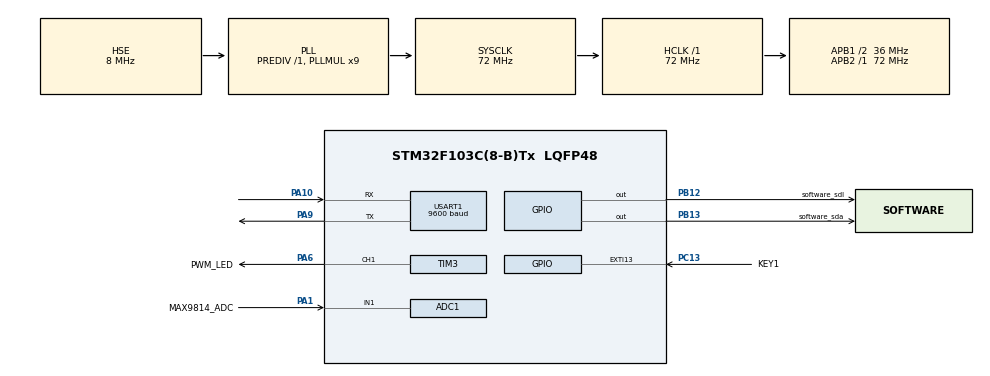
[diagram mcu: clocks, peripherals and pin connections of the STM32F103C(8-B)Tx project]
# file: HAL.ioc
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ADC1.Channel-18\#ChannelRegularConversion=ADC_CHANNEL_1
ADC1.ContinuousConvMode=DISABLE
ADC1.EnableInjectedConversion=DISABLE
ADC1.EnableRegularConversion=ENABLE
ADC1.ExternalTrigConv=ADC_EXTERNALTRIGCONV_T2_CC2
ADC1.InjNumberOfConversion=1
ADC1.NbrOfConversion=1
ADC1.NbrOfConversionFlag=1
ADC1.Rank-18\#ChannelRegularConversion=1
ADC1.SamplingTime-18\#ChannelRegularConversion=ADC_SAMPLETIME_239CYCLES_5
ADC1.master=1
Dma.ADC1.0.Direction=DMA_PERIPH_TO_MEMORY
Dma.ADC1.0.Instance=DMA1_Channel1
Dma.ADC1.0.MemDataAlignment=DMA_MDATAALIGN_HALFWORD
Dma.ADC1.0.MemInc=DMA_MINC_ENABLE
Dma.ADC1.0.Mode=DMA_CIRCULAR
Dma.ADC1.0.PeriphDataAlignment=DMA_PDATAALIGN_HALFWORD
Dma.ADC1.0.PeriphInc=DMA_PINC_DISABLE
Dma.ADC1.0.Priority=DMA_PRIORITY_HIGH
Dma.Request0=ADC1
Mcu.Family=STM32F1
Mcu.Name=STM32F103C(8-B)Tx
Mcu.Package=LQFP48
NVIC.DMA1_Channel1_IRQn=true\:0\:0\:false\:false\:true\:false\:true\:true
NVIC.PriorityGroup=NVIC_PRIORITYGROUP_4
NVIC.TIM4_IRQn=true\:15\:0\:false\:false\:true\:false\:true\:true
NVIC.TimeBase=TIM4_IRQn
NVIC.TimeBaseIP=TIM4
NVIC.USART1_IRQn=true\:0\:0\:false\:false\:true\:true\:true\:true
PA1.GPIO_Label=MAX9814_ADC
PA1.Signal=ADCx_IN1
PA10.Mode=Asynchronous
PA10.Signal=USART1_RX
PA6.GPIO_Label=PWM_LED
PA6.Signal=S_TIM3_CH1
PA9.Mode=Asynchronous
PA9.Signal=USART1_TX
PB12.GPIO_Label=software_sdl
PB12.GPIO_ModeDefaultOutputPP=GPIO_MODE_OUTPUT_OD
PB12.GPIO_PuPd=GPIO_PULLUP
PB12.GPIO_Speed=GPIO_SPEED_FREQ_HIGH
PB12.Signal=GPIO_Output
PB13.GPIO_Label=software_sda
PB13.GPIO_ModeDefaultOutputPP=GPIO_MODE_OUTPUT_OD
PB13.GPIO_PuPd=GPIO_PULLUP
PB13.GPIO_Speed=GPIO_SPEED_FREQ_HIGH
PB13.Signal=GPIO_Output
PC13-TAMPER-RTC.GPIO_Label=KEY1
PC13-TAMPER-RTC.GPIO_ModeDefaultEXTI=GPIO_MODE_IT_FALLING
PC13-TAMPER-RTC.GPIO_PuPd=GPIO_PULLUP
PC13-TAMPER-RTC.Signal=GPXTI13
PD0-OSC_IN.Mode=HSE-External-Oscillator
PD0-OSC_IN.Signal=RCC_OSC_IN
PD1-OSC_OUT.Mode=HSE-External-Oscillator
PD1-OSC_OUT.Signal=RCC_OSC_OUT
ProjectManager.HeapSize=0x200
ProjectManager.StackSize=0x400
ProjectManager.TargetToolchain=CMake
RCC.ADCPresc=RCC_ADCPCLK2_DIV6
RCC.AHBFreq_Value=72000000
RCC.APB1CLKDivider=RCC_HCLK_DIV2
RCC.APB1Freq_Value=36000000
RCC.APB1TimFreq_Value=72000000
RCC.APB2Freq_Value=72000000
RCC.APB2TimFreq_Value=72000000
RCC.HCLKFreq_Value=72000000
RCC.PLLMUL=RCC_PLL_MUL9
RCC.PLLSourceVirtual=RCC_PLLSOURCE_HSE
RCC.SYSCLKFreq_VALUE=72000000
RCC.SYSCLKSource=RCC_SYSCLKSOURCE_PLLCLK
RCC.USBFreq_Value=72000000
SH.ADCx_IN1.0=ADC1_IN1,IN1
SH.S_TIM3_CH1.0=TIM3_CH1,PWM Generation1 CH1
TIM2.Channel-Output\ Compare2\ No\ Output=TIM_CHANNEL_2
TIM2.Period=124
TIM2.Prescaler=71
TIM2.TIM_MasterOutputTrigger=TIM_TRGO_OC2REF
TIM3.Channel-PWM\ Generation1\ CH1=TIM_CHANNEL_1
TIM3.Period=999
TIM3.Prescaler=71
USART1.BaudRate=9600
USART1.VirtualMode=VM_ASYNC
VP_SYS_VS_ND.Mode=No_Debug
VP_SYS_VS_tim4.Mode=TIM4
VP_TIM2_VS_ClockSourceINT.Mode=Internal
VP_TIM2_VS_no_output2.Mode=Output Compare2 No Output
board=custom

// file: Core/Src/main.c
/* USER CODE BEGIN Header */
/**
  ******************************************************************************
  * @file           : main.c
  * @brief          : Main program body
  ******************************************************************************
  * @attention
  *
  * Copyright (c) 2026 STMicroelectronics.
  * All rights reserved.
  *
  * This software is licensed under terms that can be found in the LICENSE file
  * in the root directory of this software component.
  * If no LICENSE file comes with this software, it is provided AS-IS.
  *
  ******************************************************************************
  */
/* USER CODE END Header */
#include "main.h"

/* USER CODE BEGIN Includes */

#include "MAX30102.h"
#include "MAX9814.h"
#include "BH1750.h"
#include "HC06.h"
#include "driver_oled.h"
#include "ppg_algo.h"
#include <stdio.h>
/* USER CODE END Includes */

/* USER CODE BEGIN PTD */

typedef enum
{
  SLEEP_UNKNOWN = 0,
  SLEEP_AWAKE,
  SLEEP_LIGHT,
  SLEEP_DEEP
} SleepState_t;

/* USER CODE END PTD */

/* USER CODE BEGIN PD */

#define UART_TX_BUF_SIZE 256U

#define LED_PWM_INVERTED 0U
#define NOISE_PLAY_THRESHOLD_PCT  55U
#define NOISE_STOP_THRESHOLD_PCT  45U
#define SNORE_EVENT_COOLDOWN_MS   8000U
#define SNORE_BLOCK_SIZE          128U
#define SNORE_START_THRESHOLD_PCT 56U
#define SNORE_END_THRESHOLD_PCT   43U
#define SNORE_BURST_MIN_FRAMES    25U
#define SNORE_BURST_MAX_FRAMES    162U
#define SNORE_INTERVAL_MIN_FRAMES 44U
#define SNORE_INTERVAL_MAX_FRAMES 375U
#define SNORE_END_GAP_FRAMES      6U
#define SNORE_C0_DELTA_Q8         120U
#define SNORE_C1_MIN_Q8           20

/* USER CODE END PD */

ADC_HandleTypeDef hadc1;
DMA_HandleTypeDef hdma_adc1;

TIM_HandleTypeDef htim2;
TIM_HandleTypeDef htim3;

UART_HandleTypeDef huart1;

/* USER CODE BEGIN PV */

MAX30102_HandleTypeDef g_max30102;
MAX9814_HandleTypeDef g_max9814;
uint16_t adc_buf[256];
volatile uint8_t g_adc_half_ready = 0;
volatile uint8_t g_adc_full_ready = 0;
volatile uint16_t g_adc_half_pending = 0;
volatile uint16_t g_adc_full_pending = 0;

uint32_t g_last_red = 0;
uint32_t g_last_ir = 0;
uint32_t g_lux = 0;
uint8_t g_snd_percent = 0;
uint8_t g_max30102_fail_count = 0;

volatile uint8_t g_key_pressed = 0;
volatile uint32_t g_key_press_tick = 0;
volatile uint8_t g_key_short_event = 0;
volatile uint32_t g_key_last_irq_tick = 0;

uint8_t g_page_index = 0;
uint8_t g_led_duty = 0;
uint8_t g_led_target_duty = 30;

SleepState_t g_sleep_state = SLEEP_UNKNOWN;
SleepState_t g_sleep_candidate = SLEEP_UNKNOWN;
uint8_t g_sleep_stable_count = 0;
uint32_t g_sleep_last_change_tick = 0;

/* UART TX ring buffer state (main.c only) */
static uint8_t s_uart_tx_buf[UART_TX_BUF_SIZE];
static volatile uint16_t s_tx_rd = 0;
static volatile uint16_t s_tx_wr = 0;
static volatile uint8_t s_tx_sending = 0;  /* 1 while HAL_UART_Transmit_IT is in-flight */

HC06_HandleTypeDef g_hc06;
uint8_t g_bt_linked = 0;
uint8_t g_music_play_sent = 0;
uint8_t g_snore_active = 0;
uint16_t g_snore_count = 0;
uint32_t g_snore_last_event_tick = 0;
uint8_t g_snore_in_burst = 0;
uint8_t g_snore_pattern_score = 0;
uint32_t g_snore_burst_start_frame = 0;
uint32_t g_snore_prev_burst_end_frame = 0;
uint32_t g_snore_last_activity_frame = 0;
uint32_t g_snore_frame_index = 0;
uint16_t g_snore_c0_floor_q8 = 0;

/* USER CODE END PV */

void SystemClock_Config(void);
static void MX_GPIO_Init(void);
static void MX_DMA_Init(void);
static void MX_ADC1_Init(void);
static void MX_TIM2_Init(void);
static void MX_USART1_UART_Init(void);
static void MX_TIM3_Init(void);
/* USER CODE BEGIN PFP */

static void UpdateSleepState(const PPG_Result_t *result, uint8_t snd_percent, uint32_t lux);
static void HandleKeyEvents(void);
static void RenderPage(const PPG_Result_t *result);
static void SetLedDutyPercent(uint8_t duty);
static void UpdateLedTarget(void);
static void ProcessLedDimmingStep(void);
static void UartTx_Push(const uint8_t *data, uint16_t len);
static void UartTx_Poll(void);
static void SendTelemetry(const PPG_Result_t *result);
static void ProcessMusicCommand(void);
static void ProcessSnoreFrame(const uint16_t *samples, uint16_t count);

/* USER CODE END PFP */

/* USER CODE BEGIN 0 */

/**
 * @brief  Push bytes into the UART TX ring buffer.
 *         Drops new bytes when the buffer is full.
 */
static void UartTx_Push(const uint8_t *data, uint16_t len)
{
  uint16_t i;
  uint16_t next;

  for (i = 0U; i < len; i++)
  {
    next = (uint16_t)((s_tx_wr + 1U) & (UART_TX_BUF_SIZE - 1U));
    if (next != s_tx_rd)
    {
      s_uart_tx_buf[s_tx_wr] = data[i];
      s_tx_wr = next;
    }
  }
}

/**
 * @brief  Called in the main loop to drain the ring buffer via IRQ TX.
 *         If a transfer is already in-flight, it returns immediately.
 */
static void UartTx_Poll(void)
{
  static uint8_t s_tx_chunk[UART_TX_BUF_SIZE];
  uint16_t len;
  uint16_t end;

  if (s_tx_sending != 0U)
  {
    return; /* DMA still busy */
  }

  len = (uint16_t)((s_tx_wr - s_tx_rd) & (UART_TX_BUF_SIZE - 1U));
  if (len == 0U)
  {
    return; /* buffer empty */
  }

  /* Copy contiguous region out of the ring to a static staging buffer
     (HAL_UART_Transmit_IT keeps using the pointer until TX complete callback). */
  end = (uint16_t)((UART_TX_BUF_SIZE - s_tx_rd) < len
                   ? (UART_TX_BUF_SIZE - s_tx_rd)
                   : len);
  for (uint16_t i = 0U; i < end; i++)
  {
    s_tx_chunk[i] = s_uart_tx_buf[(uint16_t)((s_tx_rd + i) & (UART_TX_BUF_SIZE - 1U))];
  }

  s_tx_rd = (uint16_t)((s_tx_rd + end) & (UART_TX_BUF_SIZE - 1U));
  s_tx_sending = 1U;

  if (HAL_UART_Transmit_IT(&huart1, s_tx_chunk, end) != HAL_OK)
  {
    s_tx_sending = 0U; /* fall back, retry next poll */
  }
}

/**
 * @brief  UART TX completion callback.
 */
void HAL_UART_TxCpltCallback(UART_HandleTypeDef *huart)
{
  if (huart->Instance == USART1)
  {
    s_tx_sending = 0U;
  }
}

/**
 * @brief  UART TX half-completion callback (reuse to clear sending flag).
 */
void HAL_UART_TxHalfCpltCallback(UART_HandleTypeDef *huart)
{
  /* not used, but silence a potential weak-linker warning */
}

static void UpdateSleepState(const PPG_Result_t *result, uint8_t snd_percent, uint32_t lux)
{
  SleepState_t next_state;
  uint8_t stable_needed = 3U;
  uint32_t cooldown_ms;
  static uint8_t invalid_streak = 0U;

  if (((result->sqi == PPG_SQI_BAD) && (result->hr_valid == 0U) && (result->spo2_valid == 0U)) ||
      ((result->hr_valid == 0U) && (result->spo2_valid == 0U)))
  {
    if (invalid_streak < 10U)
    {
      invalid_streak++;
    }

    if (invalid_streak < 4U)
    {
      return;
    }

    next_state = SLEEP_UNKNOWN;
  }
  else if ((snd_percent > 35U) || (lux > 120U) || ((result->hr_valid != 0U) && (result->hr_bpm > 95U)))
  {
    invalid_streak = 0U;
    next_state = SLEEP_AWAKE;
  }
  else if ((snd_percent < 15U) && (lux < 30U) && ((result->hr_valid == 0U) || (result->hr_bpm < 72U)) && (result->spo2_valid != 0U) && (result->spo2 >= 93U))
  {
    invalid_streak = 0U;
    next_state = SLEEP_DEEP;
  }
  else
  {
    invalid_streak = 0U;
    next_state = SLEEP_LIGHT;
  }

  if (next_state == g_sleep_candidate)
  {
    if (g_sleep_stable_count < 5U)
    {
      g_sleep_stable_count++;
    }
  }
  else
  {
    g_sleep_candidate = next_state;
    g_sleep_stable_count = 1U;
  }

  if (next_state == SLEEP_UNKNOWN)
  {
    stable_needed = 2U;
  }

  cooldown_ms = (next_state == SLEEP_UNKNOWN) ? 3000U : 10000U;
  if (g_sleep_stable_count >= stable_needed)
  {
    if ((g_sleep_state == SLEEP_UNKNOWN) ||
        ((HAL_GetTick() - g_sleep_last_change_tick) >= cooldown_ms))
    {
      if (g_sleep_state != g_sleep_candidate)
      {
        g_sleep_state = g_sleep_candidate;
        g_sleep_last_change_tick = HAL_GetTick();
      }
    }
  }
}

static void HandleKeyEvents(void)
{
  if (g_key_short_event != 0U)
  {
    __disable_irq();
    g_key_short_event = 0U;
    __enable_irq();
    g_page_index = (uint8_t)((g_page_index + 1U) % 3U);
    OLED_Clear();
  }
}

static void RenderPage(const PPG_Result_t *result)
{
  if (g_page_index == 0U)
  {
    OLED_ShowString(1, 1, "ENVIRONMENT");
    OLED_ShowString(2, 1, "SND:");
    OLED_ShowNum(2, 5, g_snd_percent, 3);
    OLED_ShowString(2, 8, "%");
    OLED_ShowString(3, 1, "LUX:");
    OLED_ShowNum(3, 5, g_lux, 4);
    OLED_ShowString(4, 1, "PAGE1/3");
    OLED_ShowString(4, 9, "D:");
    OLED_ShowNum(4, 11, g_led_duty, 2);
  }
  else if (g_page_index == 1U)
  {
    OLED_ShowString(1, 1, "BIO SIGNAL");
    OLED_ShowString(2, 1, "HR:");
    if (result->hr_valid != 0U)
    {
      OLED_ShowNum(2, 4, result->hr_bpm, 3);
    }
    else
    {
      OLED_ShowString(2, 4, "---");
    }
    OLED_ShowString(2, 8, "bpm");

    OLED_ShowString(3, 1, "SpO2:");
    if (result->spo2_valid != 0U)
    {
      OLED_ShowNum(3, 6, result->spo2, 3);
    }
    else
    {
      OLED_ShowString(3, 6, "---");
    }
    OLED_ShowString(3, 10, "%");
    OLED_ShowString(4, 1, "PAGE2/3");
  }
  else
  {
    OLED_ShowString(1, 1, "SLEEP QUALITY");
    OLED_ShowString(2, 1, "ST:");
    if (g_sleep_state == SLEEP_AWAKE)
    {
      OLED_ShowString(2, 4, "AWAKE ");
    }
    else if (g_sleep_state == SLEEP_LIGHT)
    {
      OLED_ShowString(2, 4, "LIGHT ");
    }
    else if (g_sleep_state == SLEEP_DEEP)
    {
      OLED_ShowString(2, 4, "DEEP  ");
    }
    else
    {
      OLED_ShowString(2, 4, "UNKNWN");
    }

    OLED_ShowString(3, 1, "SQI:");
    if (result->sqi == PPG_SQI_GOOD)
    {
      OLED_ShowString(3, 5, "GOOD");
    }
    else if (result->sqi == PPG_SQI_MID)
    {
      OLED_ShowString(3, 5, "MID ");
    }
    else
    {
      OLED_ShowString(3, 5, "BAD ");
    }

    OLED_ShowString(3, 10, "H:");
    if (result->hr_valid != 0U)
    {
      OLED_ShowNum(3, 12, result->hr_bpm, 2);
    }
    else
    {
      OLED_ShowString(3, 12, "--");
    }

  OLED_ShowString(4, 1, "BT:");
  if (g_bt_linked != 0U)
  {
    OLED_ShowString(4, 4, "L ");
  }
  else
  {
    OLED_ShowString(4, 4, "S ");
  }
  OLED_ShowString(4, 7, "SN:");
  if (g_snore_active != 0U)
  {
    OLED_ShowString(4, 10, "Y");
  }
  else
  {
    OLED_ShowString(4, 10, "N");
  }
  OLED_ShowNum(4, 12, g_snore_pattern_score, 1);
  }
}

static void SetLedDutyPercent(uint8_t duty)
{
  uint32_t arr;
  uint32_t ccr;
  uint8_t applied;

  if (duty > 100U)
  {
    duty = 100U;
  }

  g_led_duty = duty;
  applied = duty;
#if (LED_PWM_INVERTED == 1U)
  applied = (uint8_t)(100U - duty);
#endif

  arr = __HAL_TIM_GET_AUTORELOAD(&htim3);
  ccr = ((arr + 1U) * applied) / 100U;
  __HAL_TIM_SET_COMPARE(&htim3, TIM_CHANNEL_1, ccr);
}

static void UpdateLedTarget(void)
{
  int16_t target;

  if (g_sleep_state == SLEEP_AWAKE)
  {
    target = 78;
  }
  else if (g_sleep_state == SLEEP_LIGHT)
  {
    target = 45;
  }
  else if (g_sleep_state == SLEEP_DEEP)
  {
    target = 12;
  }
  else
  {
    target = 35;
  }

  if (g_lux <= 20U)
  {
    target -= 10;
  }
  else if (g_lux <= 120U)
  {
    target += 0;
  }
  else if (g_lux <= 500U)
  {
    target += 10;
  }
  else if (g_lux <= 2000U)
  {
    target += 20;
  }
  else
  {
    target += 30;
  }

  if (target < 5)
  {
    target = 5;
  }
  if (target > 95)
  {
    target = 95;
  }

  g_led_target_duty = (uint8_t)target;
}

static void ProcessLedDimmingStep(void)
{
  if (g_led_duty < g_led_target_duty)
  {
    SetLedDutyPercent((uint8_t)(g_led_duty + 1U));
  }
  else if (g_led_duty > g_led_target_duty)
  {
    SetLedDutyPercent((uint8_t)(g_led_duty - 1U));
  }
}

static void SendTelemetry(const PPG_Result_t *result)
{
  char line[96];
  int len;
  uint8_t slp;
  uint16_t hr = (result->hr_valid != 0U) ? result->hr_bpm : 0U;
  uint8_t spo2 = (result->spo2_valid != 0U) ? result->spo2 : 0U;

  if (g_sleep_state == SLEEP_DEEP)
  {
    slp = 2U;
  }
  else if (g_sleep_state == SLEEP_LIGHT)
  {
    slp = 1U;
  }
  else
  {
    slp = 0U;
  }

  len = snprintf(line,
                 sizeof(line),
                 "DATA:HR=%u,SPO2=%u,SLP=%u,LGT=%lu,NS=%u,SNR=%u\r\n",
                 (unsigned)hr,
                 (unsigned)spo2,
                 (unsigned)slp,
                 (unsigned long)g_lux,
                 (unsigned)g_snd_percent,
                 (unsigned)g_snore_count);

  if (len > 0)
  {
    UartTx_Push((const uint8_t *)line, (uint16_t)len);
    g_bt_linked = 1U;
  }
}

static void ProcessSnoreFrame(const uint16_t *samples, uint16_t count)
{
  uint8_t in_sleep;
  uint16_t i;
  int32_t sum = 0;
  uint32_t sum_abs = 0U;
  int16_t c0_q8;
  int16_t c1_q8;
  int16_t start_thr_q8;
  int16_t end_thr_q8;
  uint32_t burst_frames;
  uint32_t interval_frames;

  in_sleep = (g_sleep_state == SLEEP_LIGHT) || (g_sleep_state == SLEEP_DEEP);

  if ((samples == NULL) || (count == 0U))
  {
    return;
  }

  for (i = 0U; i < count; i++)
  {
    sum += (int32_t)samples[i];
  }
  sum /= (int32_t)count;

  for (i = 0U; i < count; i++)
  {
    int32_t d = (int32_t)samples[i] - sum;
    if (d < 0)
    {
      d = -d;
    }
    sum_abs += (uint32_t)d;
  }

  c0_q8 = (int16_t)(((sum_abs / count) * 256U) / 4095U);

  sum_abs = 0U;
  for (i = 1U; i < count; i++)
  {
    int32_t d = (int32_t)samples[i] - (int32_t)samples[i - 1U];
    if (d < 0)
    {
      d = -d;
    }
    sum_abs += (uint32_t)d;
  }
  c1_q8 = (int16_t)(((sum_abs / (count - 1U)) * 256U) / 4095U);

  g_snore_frame_index++;

  if (in_sleep == 0U)
  {
    g_snore_active = 0U;
    g_snore_in_burst = 0U;
    g_snore_pattern_score = 0U;
    return;
  }

  if ((g_snore_in_burst == 0U) && (c0_q8 < (int16_t)(g_snore_c0_floor_q8 + (8 * 256 / 100))))
  {
    if (g_snore_c0_floor_q8 == 0U)
    {
      g_snore_c0_floor_q8 = (uint16_t)c0_q8;
    }
    else
    {
      g_snore_c0_floor_q8 = (uint16_t)((15U * g_snore_c0_floor_q8 + (uint16_t)c0_q8) / 16U);
    }
  }

  start_thr_q8 = (int16_t)(g_snore_c0_floor_q8 + SNORE_C0_DELTA_Q8);
  if (start_thr_q8 < (int16_t)(SNORE_START_THRESHOLD_PCT * 256 / 100))
  {
    start_thr_q8 = (int16_t)(SNORE_START_THRESHOLD_PCT * 256 / 100);
  }

  end_thr_q8 = (int16_t)(g_snore_c0_floor_q8 + (SNORE_C0_DELTA_Q8 / 2));
  if (end_thr_q8 < (int16_t)(SNORE_END_THRESHOLD_PCT * 256 / 100))
  {
    end_thr_q8 = (int16_t)(SNORE_END_THRESHOLD_PCT * 256 / 100);
  }

  if ((g_snore_in_burst == 0U) && (c0_q8 >= start_thr_q8) && (c1_q8 >= SNORE_C1_MIN_Q8))
  {
    g_snore_in_burst = 1U;
    g_snore_burst_start_frame = g_snore_frame_index;
    g_snore_last_activity_frame = g_snore_frame_index;
  }

  if (g_snore_in_burst != 0U)
  {
    if (c0_q8 > end_thr_q8)
    {
      g_snore_last_activity_frame = g_snore_frame_index;
    }

    if ((c0_q8 <= end_thr_q8) && ((g_snore_frame_index - g_snore_last_activity_frame) >= SNORE_END_GAP_FRAMES))
    {
      g_snore_in_burst = 0U;
      burst_frames = g_snore_frame_index - g_snore_burst_start_frame;

      if ((burst_frames >= SNORE_BURST_MIN_FRAMES) && (burst_frames <= SNORE_BURST_MAX_FRAMES))
      {
        if (g_snore_prev_burst_end_frame != 0U)
        {
          interval_frames = g_snore_burst_start_frame - g_snore_prev_burst_end_frame;
          if ((interval_frames >= SNORE_INTERVAL_MIN_FRAMES) && (interval_frames <= SNORE_INTERVAL_MAX_FRAMES))
          {
            if (g_snore_pattern_score < 6U)
            {
              g_snore_pattern_score++;
            }
          }
          else
          {
            if (g_snore_pattern_score > 0U)
            {
              g_snore_pattern_score--;
            }
          }
        }
        else
        {
          g_snore_pattern_score = 1U;
        }
        g_snore_prev_burst_end_frame = g_snore_frame_index;
      }
    }
  }

  if ((g_snore_pattern_score >= 2U) && ((HAL_GetTick() - g_snore_last_event_tick) >= SNORE_EVENT_COOLDOWN_MS))
  {
    g_snore_active = 1U;
    g_snore_count++;
    g_snore_last_event_tick = HAL_GetTick();
  }

  if ((g_snore_active != 0U) && ((HAL_GetTick() - g_snore_last_event_tick) > 6000U) && (c0_q8 < end_thr_q8))
  {
    g_snore_active = 0U;
  }

  if ((g_snore_pattern_score > 0U) && ((g_snore_frame_index - g_snore_prev_burst_end_frame) > 750U))
  {
    g_snore_pattern_score--;
  }
}

static void ProcessMusicCommand(void)
{
  static const uint8_t cmd_play[] = "CMD:PLAY\r\n";
  static const uint8_t cmd_stop[] = "CMD:STOP\r\n";

  if ((g_music_play_sent == 0U) && (g_snd_percent >= NOISE_PLAY_THRESHOLD_PCT))
  {
    UartTx_Push(cmd_play, (uint16_t)(sizeof(cmd_play) - 1U));
    g_music_play_sent = 1U;
    g_bt_linked = 1U;
  }
  else if ((g_music_play_sent != 0U) && (g_snd_percent <= NOISE_STOP_THRESHOLD_PCT))
  {
    UartTx_Push(cmd_stop, (uint16_t)(sizeof(cmd_stop) - 1U));
    g_music_play_sent = 0U;
    g_bt_linked = 1U;
  }
}

/* USER CODE END 0 */

int main(void)
{

  /* MCU Configuration--------------------------------------------------------*/

  /* Reset of all peripherals, Initializes the Flash interface and the Systick. */
  HAL_Init();

  /* Configure the system clock */
  SystemClock_Config();

  /* Initialize all configured peripherals */
  MX_GPIO_Init();
  MX_DMA_Init();
  MX_ADC1_Init();
  MX_TIM2_Init();
  MX_USART1_UART_Init();
  MX_TIM3_Init();
  /* USER CODE BEGIN 2 */

  HAL_ADCEx_Calibration_Start(&hadc1);
  HAL_ADC_Start_DMA(&hadc1, (uint32_t *)adc_buf, 256);
  HAL_TIM_OC_Start(&htim2, TIM_CHANNEL_2);
  HAL_TIM_PWM_Start(&htim3, TIM_CHANNEL_1);
  SetLedDutyPercent(30U);
  g_led_target_duty = 30U;

  OLED_Init();
  OLED_Clear();
  OLED_ShowString(1, 1, "INIT...");

  MAX9814_Init(&g_max9814, 2048U, 4095U);
  (void)MAX30102_Init(&g_max30102);
  (void)HC06_Init(&g_hc06, &huart1, NULL, 0U, 100U);
  Init_BH1750();
  PPG_Init();

  /* USER CODE END 2 */

  /* Infinite loop */
  /* USER CODE BEGIN WHILE */
  uint32_t tick_10ms = HAL_GetTick();
  uint32_t tick_200ms = HAL_GetTick();
  uint32_t tick_1000ms = HAL_GetTick();
  uint32_t tick_50ms = HAL_GetTick();
  uint32_t tick_30ms = HAL_GetTick();
  while (1)
  {
    /* USER CODE END WHILE */

    /* USER CODE BEGIN 3 */
    HandleKeyEvents();

    UartTx_Poll();

    while ((HAL_GetTick() - tick_50ms) >= 50U)
    {
      tick_50ms += 50U;
      if ((g_key_pressed != 0U) && (HAL_GPIO_ReadPin(KEY1_GPIO_Port, KEY1_Pin) == GPIO_PIN_SET))
      {
        uint32_t press_ms = HAL_GetTick() - g_key_press_tick;
        __disable_irq();
        g_key_pressed = 0U;
        __enable_irq();
        if ((press_ms >= 40U) && (press_ms < 1000U))
        {
          g_key_short_event = 1U;
        }
      }
    }

    while (g_adc_half_pending != 0U)
    {
      __disable_irq();
      g_adc_half_pending--;
      __enable_irq();
      MAX9814_ProcessBlock(&g_max9814, &adc_buf[0], 128U);
      ProcessSnoreFrame(&adc_buf[0], SNORE_BLOCK_SIZE);
    }

    while (g_adc_full_pending != 0U)
    {
      __disable_irq();
      g_adc_full_pending--;
      __enable_irq();
      MAX9814_ProcessBlock(&g_max9814, &adc_buf[128], 128U);
      ProcessSnoreFrame(&adc_buf[128], SNORE_BLOCK_SIZE);
    }

    while ((HAL_GetTick() - tick_10ms) >= 10U)
    {
      uint8_t wr = 0;
      uint8_t rd = 0;
      uint8_t avail;
      HAL_StatusTypeDef st;

      tick_10ms += 10U;
      st = MAX30102_GetFifoPtrs(&g_max30102, &wr, &rd);
      if (st == HAL_OK)
      {
        avail = MAX30102_GetFifoSamplesAvailable(wr, rd);
        while (avail > 0U)
        {
          uint8_t n = (avail > 8U) ? 8U : avail;
          uint32_t red[8];
          uint32_t ir[8];
          uint8_t i;

          st = MAX30102_ReadSamples(&g_max30102, red, ir, n);
          if (st != HAL_OK)
          {
            g_max30102_fail_count++;
            break;
          }

          for (i = 0U; i < n; i++)
          {
            g_last_red = red[i];
            g_last_ir = ir[i];
            PPG_PushSample(red[i], ir[i]);
          }

          avail = (uint8_t)(avail - n);
        }
      }
      else
      {
        g_max30102_fail_count++;
      }

      if (g_max30102_fail_count >= 5U)
      {
        (void)MAX30102_Init(&g_max30102);
        g_max30102_fail_count = 0U;
      }
    }

    if ((HAL_GetTick() - tick_1000ms) >= 1000U)
    {
      PPG_Result_t state_result;
      tick_1000ms += 1000U;
      g_lux = Value_GY30();
      g_snd_percent = MAX9814_GetLevelPercent(&g_max9814);
      PPG_Update1s();
      state_result = PPG_GetResult();
      UpdateSleepState(&state_result, g_snd_percent, g_lux);
      UpdateLedTarget();
      SendTelemetry(&state_result);
      ProcessMusicCommand();
    }

    while ((HAL_GetTick() - tick_30ms) >= 30U)
    {
      tick_30ms += 30U;
      ProcessLedDimmingStep();
    }

    if ((HAL_GetTick() - tick_200ms) >= 200U)
    {
      PPG_Result_t result;
      tick_200ms += 200U;
      result = PPG_GetResult();
      RenderPage(&result);
    }
  }
  /* USER CODE END 3 */
}

void SystemClock_Config(void)
{
  RCC_OscInitTypeDef RCC_OscInitStruct = {0};
  RCC_ClkInitTypeDef RCC_ClkInitStruct = {0};
  RCC_PeriphCLKInitTypeDef PeriphClkInit = {0};

  /** Initializes the RCC Oscillators according to the specified parameters
  * in the RCC_OscInitTypeDef structure.
  */
  RCC_OscInitStruct.OscillatorType = RCC_OSCILLATORTYPE_HSE;
  RCC_OscInitStruct.HSEState = RCC_HSE_ON;
  RCC_OscInitStruct.HSEPredivValue = RCC_HSE_PREDIV_DIV1;
  RCC_OscInitStruct.HSIState = RCC_HSI_ON;
  RCC_OscInitStruct.PLL.PLLState = RCC_PLL_ON;
  RCC_OscInitStruct.PLL.PLLSource = RCC_PLLSOURCE_HSE;
  RCC_OscInitStruct.PLL.PLLMUL = RCC_PLL_MUL9;
  if (HAL_RCC_OscConfig(&RCC_OscInitStruct) != HAL_OK)
  {
    Error_Handler();
  }

  /** Initializes the CPU, AHB and APB buses clocks
  */
  RCC_ClkInitStruct.ClockType = RCC_CLOCKTYPE_HCLK|RCC_CLOCKTYPE_SYSCLK
                              |RCC_CLOCKTYPE_PCLK1|RCC_CLOCKTYPE_PCLK2;
  RCC_ClkInitStruct.SYSCLKSource = RCC_SYSCLKSOURCE_PLLCLK;
  RCC_ClkInitStruct.AHBCLKDivider = RCC_SYSCLK_DIV1;
  RCC_ClkInitStruct.APB1CLKDivider = RCC_HCLK_DIV2;
  RCC_ClkInitStruct.APB2CLKDivider = RCC_HCLK_DIV1;

  if (HAL_RCC_ClockConfig(&RCC_ClkInitStruct, FLASH_LATENCY_2) != HAL_OK)
  {
    Error_Handler();
  }
  PeriphClkInit.PeriphClockSelection = RCC_PERIPHCLK_ADC;
  PeriphClkInit.AdcClockSelection = RCC_ADCPCLK2_DIV6;
  if (HAL_RCCEx_PeriphCLKConfig(&PeriphClkInit) != HAL_OK)
  {
    Error_Handler();
  }
}

static void MX_ADC1_Init(void)
{

  ADC_ChannelConfTypeDef sConfig = {0};

  /** Common config
  */
  hadc1.Instance = ADC1;
  hadc1.Init.ScanConvMode = ADC_SCAN_DISABLE;
  hadc1.Init.ContinuousConvMode = DISABLE;
  hadc1.Init.DiscontinuousConvMode = DISABLE;
  hadc1.Init.ExternalTrigConv = ADC_EXTERNALTRIGCONV_T2_CC2;
  hadc1.Init.DataAlign = ADC_DATAALIGN_RIGHT;
  hadc1.Init.NbrOfConversion = 1;
  if (HAL_ADC_Init(&hadc1) != HAL_OK)
  {
    Error_Handler();
  }

  /** Configure Regular Channel
  */
  sConfig.Channel = ADC_CHANNEL_1;
  sConfig.Rank = ADC_REGULAR_RANK_1;
  sConfig.SamplingTime = ADC_SAMPLETIME_239CYCLES_5;
  if (HAL_ADC_ConfigChannel(&hadc1, &sConfig) != HAL_OK)
  {
    Error_Handler();
  }

}

static void MX_TIM2_Init(void)
{

  TIM_ClockConfigTypeDef sClockSourceConfig = {0};
  TIM_MasterConfigTypeDef sMasterConfig = {0};
  TIM_OC_InitTypeDef sConfigOC = {0};

  htim2.Instance = TIM2;
  htim2.Init.Prescaler = 71;
  htim2.Init.CounterMode = TIM_COUNTERMODE_UP;
  htim2.Init.Period = 124;
  htim2.Init.ClockDivision = TIM_CLOCKDIVISION_DIV1;
  htim2.Init.AutoReloadPreload = TIM_AUTORELOAD_PRELOAD_DISABLE;
  if (HAL_TIM_Base_Init(&htim2) != HAL_OK)
  {
    Error_Handler();
  }
  sClockSourceConfig.ClockSource = TIM_CLOCKSOURCE_INTERNAL;
  if (HAL_TIM_ConfigClockSource(&htim2, &sClockSourceConfig) != HAL_OK)
  {
    Error_Handler();
  }
  if (HAL_TIM_OC_Init(&htim2) != HAL_OK)
  {
    Error_Handler();
  }
  sMasterConfig.MasterOutputTrigger = TIM_TRGO_OC2REF;
  sMasterConfig.MasterSlaveMode = TIM_MASTERSLAVEMODE_DISABLE;
  if (HAL_TIMEx_MasterConfigSynchronization(&htim2, &sMasterConfig) != HAL_OK)
  {
    Error_Handler();
  }
  sConfigOC.OCMode = TIM_OCMODE_TIMING;
  sConfigOC.Pulse = 0;
  sConfigOC.OCPolarity = TIM_OCPOLARITY_HIGH;
  sConfigOC.OCFastMode = TIM_OCFAST_DISABLE;
  if (HAL_TIM_OC_ConfigChannel(&htim2, &sConfigOC, TIM_CHANNEL_2) != HAL_OK)
  {
    Error_Handler();
  }

}

static void MX_TIM3_Init(void)
{

  TIM_MasterConfigTypeDef sMasterConfig = {0};
  TIM_OC_InitTypeDef sConfigOC = {0};

  htim3.Instance = TIM3;
  htim3.Init.Prescaler = 71;
  htim3.Init.CounterMode = TIM_COUNTERMODE_UP;
  htim3.Init.Period = 999;
  htim3.Init.ClockDivision = TIM_CLOCKDIVISION_DIV1;
  htim3.Init.AutoReloadPreload = TIM_AUTORELOAD_PRELOAD_DISABLE;
  if (HAL_TIM_PWM_Init(&htim3) != HAL_OK)
  {
    Error_Handler();
  }
  sMasterConfig.MasterOutputTrigger = TIM_TRGO_RESET;
  sMasterConfig.MasterSlaveMode = TIM_MASTERSLAVEMODE_DISABLE;
  if (HAL_TIMEx_MasterConfigSynchronization(&htim3, &sMasterConfig) != HAL_OK)
  {
    Error_Handler();
  }
  sConfigOC.OCMode = TIM_OCMODE_PWM1;
  sConfigOC.Pulse = 0;
  sConfigOC.OCPolarity = TIM_OCPOLARITY_HIGH;
  sConfigOC.OCFastMode = TIM_OCFAST_DISABLE;
  if (HAL_TIM_PWM_ConfigChannel(&htim3, &sConfigOC, TIM_CHANNEL_1) != HAL_OK)
  {
    Error_Handler();
  }
  HAL_TIM_MspPostInit(&htim3);

}

static void MX_USART1_UART_Init(void)
{

  huart1.Instance = USART1;
  huart1.Init.BaudRate = 9600;
  huart1.Init.WordLength = UART_WORDLENGTH_8B;
  huart1.Init.StopBits = UART_STOPBITS_1;
  huart1.Init.Parity = UART_PARITY_NONE;
  huart1.Init.Mode = UART_MODE_TX_RX;
  huart1.Init.HwFlowCtl = UART_HWCONTROL_NONE;
  huart1.Init.OverSampling = UART_OVERSAMPLING_16;
  if (HAL_UART_Init(&huart1) != HAL_OK)
  {
    Error_Handler();
  }

}

static void MX_DMA_Init(void)
{

  /* DMA controller clock enable */
  __HAL_RCC_DMA1_CLK_ENABLE();

  /* DMA interrupt init */
  /* DMA1_Channel1_IRQn interrupt configuration */
  HAL_NVIC_SetPriority(DMA1_Channel1_IRQn, 0, 0);
  HAL_NVIC_EnableIRQ(DMA1_Channel1_IRQn);

}

static void MX_GPIO_Init(void)
{
  GPIO_InitTypeDef GPIO_InitStruct = {0};

  /* GPIO Ports Clock Enable */
  __HAL_RCC_GPIOC_CLK_ENABLE();
  __HAL_RCC_GPIOD_CLK_ENABLE();
  __HAL_RCC_GPIOA_CLK_ENABLE();
  __HAL_RCC_GPIOB_CLK_ENABLE();

  /*Configure GPIO pin Output Level */
  HAL_GPIO_WritePin(GPIOB, software_sdl_Pin|software_sda_Pin, GPIO_PIN_RESET);

  /*Configure GPIO pin : KEY1_Pin */
  GPIO_InitStruct.Pin = KEY1_Pin;
  GPIO_InitStruct.Mode = GPIO_MODE_IT_FALLING;
  GPIO_InitStruct.Pull = GPIO_PULLUP;
  HAL_GPIO_Init(KEY1_GPIO_Port, &GPIO_InitStruct);

  HAL_NVIC_SetPriority(EXTI15_10_IRQn, 2, 0);
  HAL_NVIC_EnableIRQ(EXTI15_10_IRQn);

  /*Configure GPIO pins : software_sdl_Pin software_sda_Pin */
  GPIO_InitStruct.Pin = software_sdl_Pin|software_sda_Pin;
  GPIO_InitStruct.Mode = GPIO_MODE_OUTPUT_OD;
  GPIO_InitStruct.Pull = GPIO_PULLUP;
  GPIO_InitStruct.Speed = GPIO_SPEED_FREQ_HIGH;
  HAL_GPIO_Init(GPIOB, &GPIO_InitStruct);

}

/* USER CODE BEGIN 4 */

void HAL_ADC_ConvHalfCpltCallback(ADC_HandleTypeDef *hadc)
{
  if (hadc->Instance == ADC1)
  {
    if (g_adc_half_pending < 0xFFFFU)
    {
      g_adc_half_pending++;
    }
    g_adc_half_ready = 1U;
  }
}

void HAL_ADC_ConvCpltCallback(ADC_HandleTypeDef *hadc)
{
  if (hadc->Instance == ADC1)
  {
    if (g_adc_full_pending < 0xFFFFU)
    {
      g_adc_full_pending++;
    }
    g_adc_full_ready = 1U;
  }
}

void HAL_GPIO_EXTI_Callback(uint16_t GPIO_Pin)
{
  uint32_t now;

  if (GPIO_Pin != KEY1_Pin)
  {
    return;
  }

  now = HAL_GetTick();
  if ((now - g_key_last_irq_tick) < 30U)
  {
    return;
  }

  g_key_last_irq_tick = now;
  if (HAL_GPIO_ReadPin(KEY1_GPIO_Port, KEY1_Pin) == GPIO_PIN_RESET)
  {
    g_key_pressed = 1U;
    g_key_press_tick = now;
  }
}

/* USER CODE END 4 */

void HAL_TIM_PeriodElapsedCallback(TIM_HandleTypeDef *htim)
{
  if (htim->Instance == TIM4)
  {
    HAL_IncTick();
  }
}

void Error_Handler(void)
{
  __disable_irq();
  while (1)
  {
  }
}
